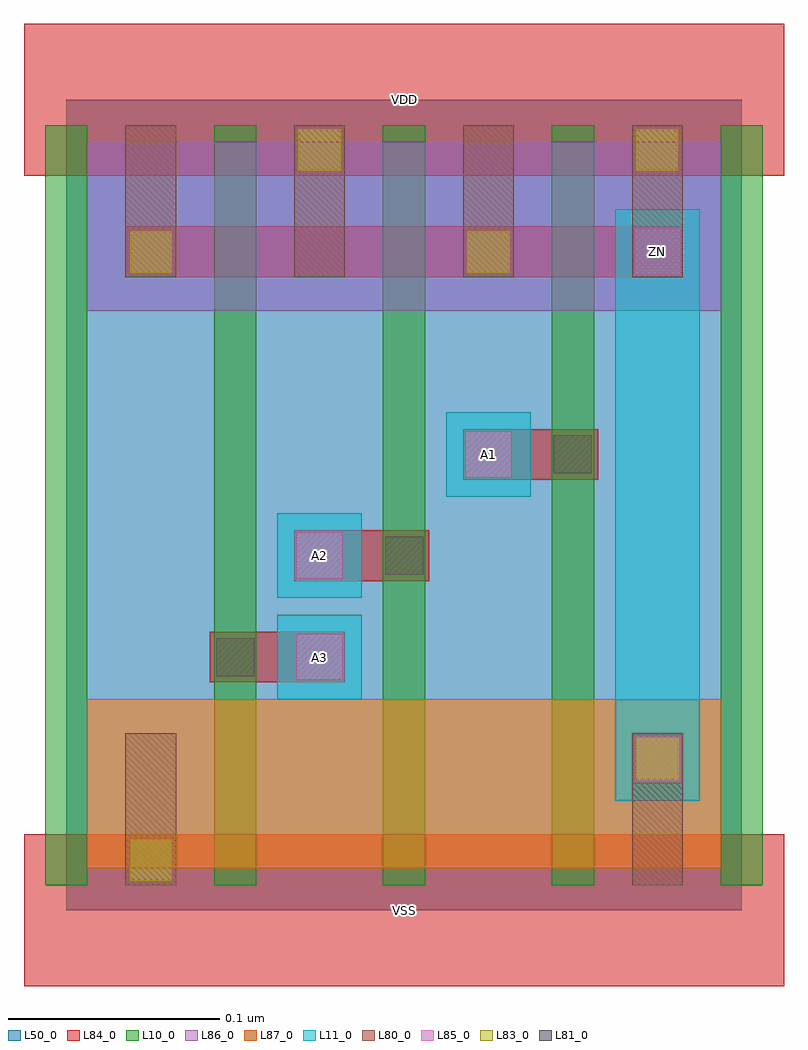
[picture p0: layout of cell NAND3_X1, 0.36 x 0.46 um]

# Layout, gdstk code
import gdstk
lib = gdstk.Library(unit=1e-6, precision=1e-09)
def R(c, l, rs):  # rectangles x0, y0, x1, y1
    for r in rs: c.add(gdstk.rectangle(r[:2], r[2:], *l))
def A(c, l, x, y, w, h, nx, ny, dx, dy):  # array of equal rectangles
    R(c, l, [(x+i*dx, y+j*dy, x+i*dx+w, y+j*dy+h) for i in range(nx) for j in range(ny)])
L10_0 = (10, 0)
L11_0 = (11, 0)
L50_0 = (50, 0)
L80_0 = (80, 0)
L81_0 = (81, 0)
L83_0 = (83, 0)
L84_0 = (84, 0)
L85_0 = (85, 0)
L86_0 = (86, 0)
L87_0 = (87, 0)

nand3_x1 = lib.new_cell('NAND3_X1')
A(nand3_x1, L10_0, -0.01, 0.012, 0.02, 0.36, 5, 1, 0.08, 0)
R(nand3_x1, L11_0, [(0.26,0.052,0.3,0.332), (0.1,0.1,0.14,0.14), (0.1,0.148,0.14,0.188), (0.18,0.196,0.22,0.236)])
R(nand3_x1, L50_0, [(0,0,0.32,0.384)])
A(nand3_x1, L80_0, 0.028, 0.3, 0.024, 0.072, 4, 1, 0.08, 0)
R(nand3_x1, L80_0, [(0.028,0.012,0.052,0.084), (0.268,0.012,0.292,0.084)])
R(nand3_x1, L81_0, [(0.071,0.111,0.089,0.129), (0.151,0.159,0.169,0.177), (0.231,0.207,0.249,0.225)])
R(nand3_x1, L83_0, [(0.03,0.014,0.05,0.034), (0.27,0.062,0.29,0.082), (0.03,0.302,0.05,0.322), (0.19,0.302,0.21,0.322), (0.11,0.35,0.13,0.37), (0.27,0.35,0.29,0.37)])
R(nand3_x1, L84_0, [(-0.02,-0.036,0.34,0.036), (0.268,0.06,0.292,0.084), (0.068,0.108,0.132,0.132), (0.108,0.156,0.172,0.18), (0.188,0.204,0.252,0.228), (0.028,0.3,0.292,0.324), (-0.02,0.348,0.34,0.42)])
R(nand3_x1, L85_0, [(0.269,0.061,0.291,0.083), (0.109,0.109,0.131,0.131), (0.109,0.157,0.131,0.179), (0.189,0.205,0.211,0.227), (0.269,0.301,0.291,0.323)])
R(nand3_x1, L86_0, [(0.01,0.284,0.31,0.364)])
R(nand3_x1, L87_0, [(0.01,0.02,0.31,0.1)])
nand3_x1.add(gdstk.Label('VDD', (0.16,0.384), layer=88, texttype=0))
nand3_x1.add(gdstk.Label('VSS', (0.16,0), layer=88, texttype=0))
nand3_x1.add(gdstk.Label('ZN', (0.28,0.312), layer=31, texttype=0))
nand3_x1.add(gdstk.Label('A2', (0.12,0.168), layer=31, texttype=0))
nand3_x1.add(gdstk.Label('A1', (0.2,0.216), layer=31, texttype=0))
nand3_x1.add(gdstk.Label('A3', (0.12,0.12), layer=31, texttype=0))

lib.write_gds('NAND3_X1.gds')
